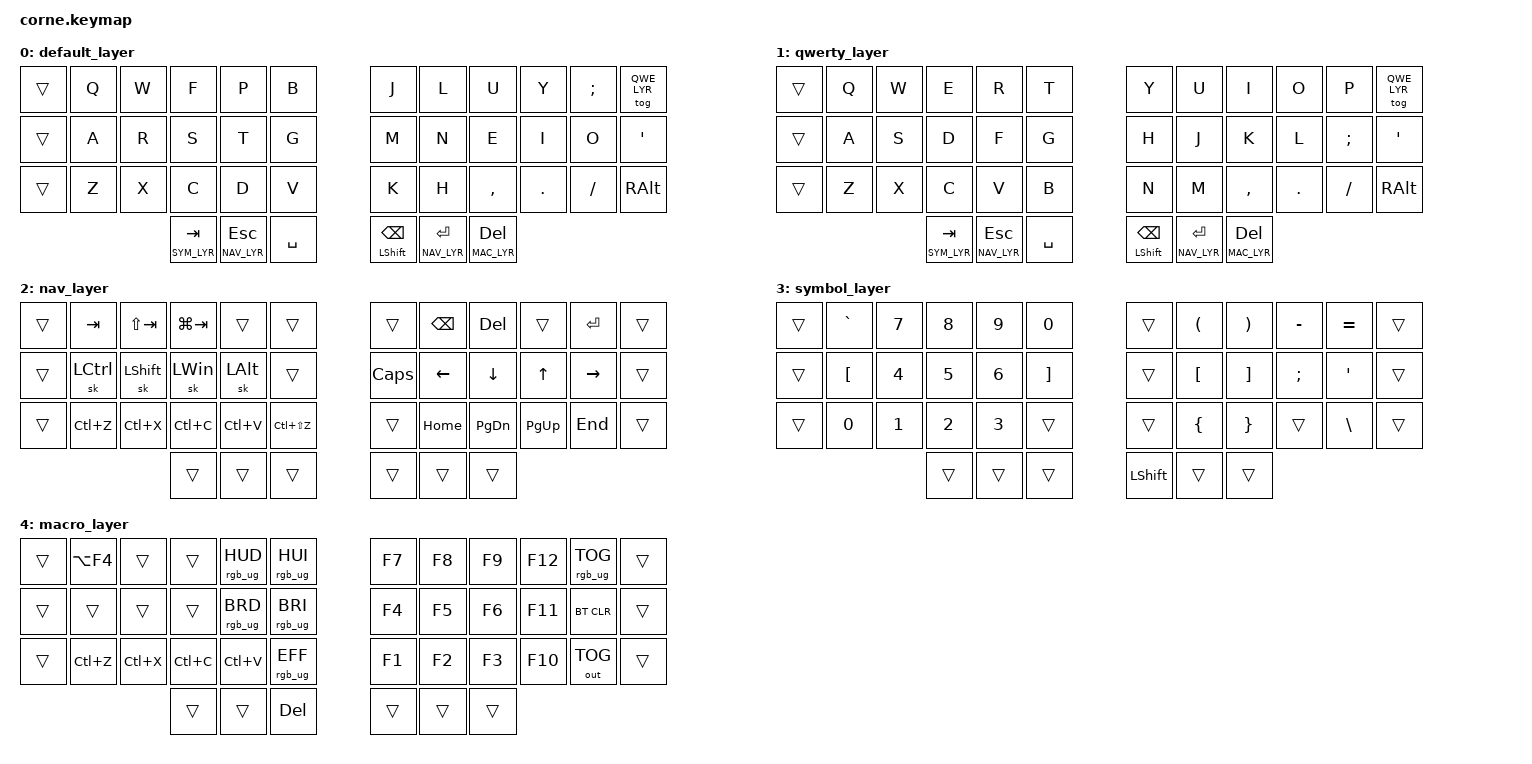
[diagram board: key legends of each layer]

/*
 * Copyright (c) 2020 The ZMK Contributors
 *
 * SPDX-License-Identifier: MIT
 */

#include <behaviors.dtsi>
#include <dt-bindings/zmk/keys.h>
#include <dt-bindings/zmk/bt.h>
#include <dt-bindings/zmk/outputs.h>
#include <dt-bindings/zmk/rgb.h>

#include <dt-bindings/zmk/trackball_pim447.h>
// ex: &pim447_mo PIM447_SCROLL>


// layer mappings:
#define QWE_LYR 1
#define NAV_LYR 2
#define SYM_LYR 3
#define MAC_LYR 4

/ {
        keymap {
                compatible = "zmk,keymap";

default_layer {
// -----------------------------------------------------------------------------------------
//  |     |  Q  |  W  |  F  |  P  |  B  |   |  J  |  L  |  U  |  Y  |  ;  |QWERT|
//  |     |  A  |  R  |  S  |  T  |  G  |   |  M  |  N  |  E  |  I  |  O  |  '  |
//  |     |  Z  |  X  |  C  |  D  |  V  |   |  K  |  H  |  ,  |  .  |  /  | ALT |
//                    | TAB | ESC | SPC |   |BSPC | ENT | DEL |
//                    | SYM | NAV | SPC |   |SHFT | NAV | MAC |
    bindings = <
        &trans &kp Q &kp W &kp F &kp P &kp B         &kp J &kp L  &kp U     &kp Y   &kp SEMI &tog QWE_LYR
        &trans &kp A &kp R &kp S &kp T &kp G         &kp M &kp N  &kp E     &kp I   &kp O &kp APOS
        &trans &kp Z &kp X &kp C &kp D &kp V         &kp K &kp H  &kp COMMA &kp DOT &kp FSLH &kp RALT
        &lt SYM_LYR TAB &lt NAV_LYR ESC &kp SPACE         &mt LSHFT BSPC &lt NAV_LYR RETURN &lt MAC_LYR DEL
    >;
};


qwerty_layer {
// -----------------------------------------------------------------------------------------
//  |     |  Q  |  W  |  E  |  R  |  T  |   |  Y  |  U  |  I  |  O  |  P  |COLEM|
//  |     |  A  |  S  |  D  |  F  |  G  |   |  H  |  J  |  K  |  L  |  ;  |  '  |
//  |     |  Z  |  X  |  C  |  V  |  B  |   |  N  |  M  |  ,  |  .  |  /  | ALT |
//                    | TAB | ESC | SPC |   |BSPC | ENT | DEL |
//                    | SYM | NAV | SPC |   |SHFT | NAV | MAC |
    bindings = <
        &trans   &kp Q &kp W &kp E &kp R &kp T         &kp Y &kp U  &kp I     &kp O   &kp P    &tog QWE_LYR
        &trans &kp A &kp S &kp D &kp F &kp G         &kp H &kp J  &kp K     &kp L   &kp SEMI &kp APOS
        &trans &kp Z &kp X &kp C &kp V &kp B         &kp N &kp M  &kp COMMA &kp DOT &kp FSLH &kp RALT
        &lt SYM_LYR TAB &lt NAV_LYR ESC &kp SPACE         &mt LSHFT BSPC &lt NAV_LYR RETURN &lt MAC_LYR DEL
    >;
};



nav_layer {
// -----------------------------------------------------------------------------------------
// |     | TAB |STAB |WTAB |     |     |   |     |BSPC | DEL |     | ENT |     |
// |     |CTRL |SHFT | WIN | ALT |     |   |CAPS | LFT | DWN | UP  | RGT |     |
// |     |UNDO | CUT | CPY |PSTE |REDO |   | INS |HOME |PGDN |PGUP | END |     |
//                   |     |     |     |   |     |     |     |
    bindings = <
        &trans &kp TAB &kp LS(TAB) &kp LG(TAB) &trans &trans               &trans &kp BSPC &kp DEL &trans &kp RETURN &trans
        &trans &sk LCTRL &sk LSHFT &sk LWIN &sk LALT &trans         &kp CAPS &kp LEFT &kp DOWN &kp UP &kp RIGHT &trans
        &trans &kp LC(Z) &kp LC(X) &kp LC(C) &kp LC(V) &kp LC(LS(Z))                   &trans &kp HOME &kp PG_DN &kp PG_UP &kp END &trans
                &trans &trans &trans                                    &trans &trans &trans
    >;
};


symbol_layer {
// -----------------------------------------------------------------------------------------
// |     | `~  | 7&  | 8*  | 9(  | 0)  |   |     |  (  |  )  |  -  | =+  |     |
// |     | [{  | 4$  | 5%  | 6^  | ]}  |   |     |  [  |  ]  | ;:  | '"  |     |
// |     | 0)  | 1!  | 2#  | 3#  |     |   |     |  {  |  }  |     | \|  |     |
//                   |     |     |     |   |SHFT |     |     |
    bindings = <
        &trans &kp GRAVE &kp NUMBER_7 &kp NUMBER_8 &kp NUMBER_9 &kp NUMBER_0          &trans &kp LPAR &kp RPAR &kp MINUS &kp EQUAL &trans
        &trans &kp LBKT &kp NUMBER_4 &kp NUMBER_5 &kp NUMBER_6 &kp RBKT               &trans &kp LBKT &kp RBKT &kp SEMI &kp APOS &trans
        &trans &kp NUMBER_0 &kp NUMBER_1 &kp NUMBER_2 &kp NUMBER_3 &trans             &trans &kp LBRC &kp RBRC &trans &kp BSLH &trans
                &trans &trans &trans                 &kp LSHFT &trans &trans
    >;
};


macro_layer {
// -----------------------------------------------------------------------------------------
// |     | AF4 |     |     |RGBHD|RGBHI|   | F7  | F8  | F9  | F12 |RGBTG|     |
// |     |     |     |     |RGBBD|RGBBI|   | F4  | F5  | F6  | F11 |BTCLR|     |
// |     |     | CUT | CPY |PSTE |PSTE |   | F1  | F2  | F3  | F10 |OUTTG|     |
//                   |     | DEL |     |   |     |     |     |
    bindings = <
        &trans &kp LA(F4) &trans &trans &rgb_ug RGB_HUD &rgb_ug RGB_HUI                 &kp F7 &kp F8 &kp F9 &kp F12 &rgb_ug RGB_TOG &trans
        &trans &trans &trans &trans &rgb_ug RGB_BRD &rgb_ug RGB_BRI                     &kp F4 &kp F5 &kp F6 &kp F11 &bt BT_CLR &trans
        &trans &kp LC(Z) &kp LC(X) &kp LC(C) &kp LC(V) &rgb_ug RGB_EFF                  &kp F1 &kp F2 &kp F3 &kp F10 &out OUT_TOG &trans
                &trans &trans &kp DEL                                    &trans &trans &trans
    >;
};






        };
};




// symbol_layer {
// // -----------------------------------------------------------------------------------------
// // |     | !1  | 2@  | 3#  | 4$  | 5%  |   | 6^  | 7&  | 8*  | 9(  | 0)  |     |
// // |     | `~  | \|  |  '  |     |     |   |     | -_  | =+  | [{  | ]}  |     |
// // |     |  !  |  @  |  #  |  $  |  %  |   |  ^  |  &  |  *  |  (  |  )  |     |
// //                   |     |     |     |   |     |     |     |
//     bindings = <
//         &trans &kp NUMBER_1 &kp NUMBER_2 &kp NUMBER_3 &kp NUMBER_4 &kp NUMBER_5          &kp NUMBER_6 &kp NUMBER_7 &kp NUMBER_8 &kp NUMBER_9 &kp NUMBER_0 &trans
//         &trans &kp GRAVE &kp BSLH &kp APOS &trans &trans            &trans &kp MINUS &kp EQUAL &kp LBKT &kp RBKT &trans
//         &trans &kp EXCL &kp AT &kp HASH &kp DOLLAR &kp PERCENT      &kp CARET &kp AMPS &kp ASTRK &kp LPAR &kp RPAR
//                 &trans &trans &trans                                &trans &trans &trans
//     >;
// };

                
// symbol_layer {
// // -----------------------------------------------------------------------------------------
// // |     | `~  |     |  (  |  )  |     |   | [{  | 7&  | 8*  | 9(  | ]}  |     |
// // |     | -=  | =+  |  [  |  ]  |     |   | -=  | 4$  | 5%  | 6^  | =+  |     |
// // |     |  ;: | \|  |  {  |  }  |     |   | 0)  | 1!  | 2#  | 3#  | \|  |     |
// //                   |     |     |     |   |     |     |     |
//     bindings = <
//         &trans &kp GRAVE &trans &trans &trans &trans           &kp LBKT &kp NUMBER_7 &kp NUMBER_8 &kp NUMBER_9 &kp RBKT &trans
//         &trans &kp LWIN &kp LALT &kp LSHFT &trans &trans    &kp SEMI &kp NUMBER_4 &kp NUMBER_5 &kp NUMBER_6 &kp EQUAL &trans
//         &trans &kp BSLH &trans &trans &trans &trans           &kp NUMBER_0 &kp NUMBER_1 &kp NUMBER_2 &kp NUMBER_3 &kp BSLH &trans
//                 &trans &trans &trans                                &trans &trans &trans
//     >;
// };

// symbol_layer {
// // -----------------------------------------------------------------------------------------
// // |     |     |     |     |     |     |   |  (  |  &  |  *  |  (  |  )  |  ~  |
// // |     | WIN | ALT |CTRL |SHFT |     |   |  :  |  $  |  %  |  ^  |  +  |     |
// // |     |     |     |     |     |     |   |  )  |  !  |  @  |  #  | "|" |     |
// //                   |     |     |     |   |     |     |     |
//     bindings = <
//         &trans &trans &trans &trans &trans &trans           &kp LPAR &kp AMPS &kp ASTRK &kp LPAR &kp RPAR &kp TILDE
//         &trans &kp LWIN &kp LALT &kp LSHFT &trans &trans    &kp COLON &kp DOLLAR &kp PERCENT &kp CARET &kp PLUS &trans
//         &trans &trans &trans &trans &trans &trans           &kp RPAR &kp EXCL &kp AT &kp HASH &kp PIPE &trans
//                 &trans &trans &trans                                &trans &trans &trans
//     >;
// };



// TODO:
//  mouse_layer {
//  // -----------------------------------------------------------------------------------------
//  // |     |     |     |     |     |     |   |     |REDO |PSTE | CPY | CUT |UNDO |
//  // |     | WIN | ALT |CTRL |SHFT |     |   |     | LFT | DWN |  UP | RGT |     |
//  // |     |     |     |     |     |     |   |     | LFT | DWN |  UP | RGT |     |
//  //                   |     |     |     |   | M1  | M3  | M2  |
//      bindings = <
//          &trans &trans &trans &trans &trans &trans           &trans &trans &trans &trans &trans &trans
//          &trans &kp LWIN &kp LALT &kp LSHFT &trans &trans    &trans &trans &trans &trans &trans &trans
//          &trans &trans &trans &trans &trans &trans           &trans &trans &trans &trans &trans &trans
//                  &trans &trans &trans                                &trans &trans &trans
//      >;
//  };
//  
//  
//  
//  
//  button_layer {
//  // -----------------------------------------------------------------------------------------
//  // |     |     |     |     |     |     |   |     |     |     |     |     |     |
//  // |     |     |     |     |     |     |   |     |     |     |     |     |     |
//  // |     |     |     |     |     |     |   |     |     |     |     |     |     |
//  //                   |     |     |     |   |     |     |     |
//      bindings = <
//          &trans &trans &trans &trans &trans &trans           &trans &trans &trans &trans &trans &trans
//          &trans &trans &trans &trans &trans &trans           &trans &trans &trans &trans &trans &trans
//          &trans &trans &trans &trans &trans &trans           &trans &trans &trans &trans &trans &trans
//                  &trans &trans &trans                                &trans &trans &trans
//      >;
//  };
//  
//  media_layer {
//  // -----------------------------------------------------------------------------------------
//  // |     |     |     |     |     |     |   |     |     |     |     |     |     |
//  // |     | WIN | ALT |CTRL |SHFT |     |   |     |     |PREV |VO_DN|VO_UP|NEXT |
//  // |     |     |     |     |     |     |   |     |     |     |     |     |     |
//  //                   |     |     |     |   |     |STOP |PL/PA|MUTE |
//  //    bindings = <
//  //        &trans &trans &trans &trans &trans &trans               &trans &trans &trans &trans &trans &trans
//  //        &trans &kp LWIN &kp LALT &kp LSHFT &trans &trans        trans &kp K_PREV &kp K_VOL_DN &kp K_VOL_UP &kp K_NEXT &trans
//  //        &trans &trans &trans &trans &trans &trans               &trans &trans &trans &trans &trans &trans
//  //                &trans &trans &trans                                &kp K_STOP &kp K_PP &kp K_MUTE
//  //    >;
//  
//      bindings = <
//          &trans &trans &trans &trans &trans &trans           &trans &trans &trans &trans &trans &trans
//          &trans &trans &trans &trans &trans &trans           &trans &trans &trans &trans &trans &trans
//          &trans &trans &trans &trans &trans &trans           &trans &trans &trans &trans &trans &trans
//                  &trans &trans &trans                                &trans &trans &trans
//      >;
//  };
